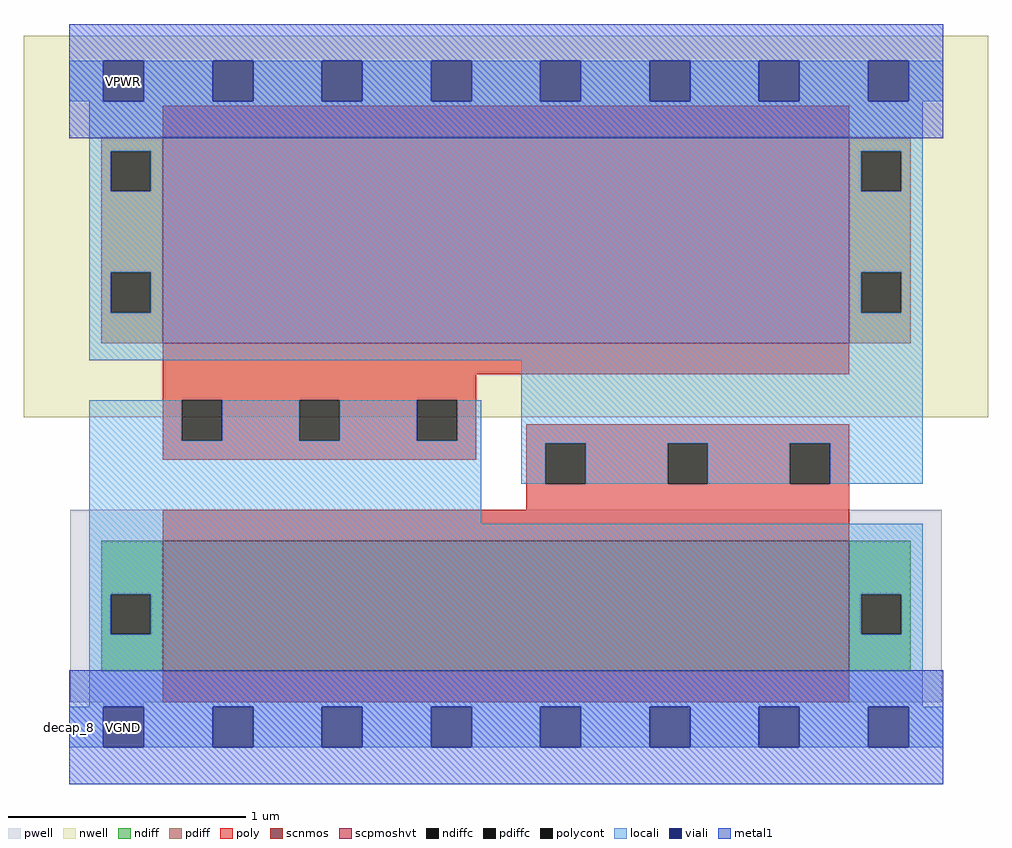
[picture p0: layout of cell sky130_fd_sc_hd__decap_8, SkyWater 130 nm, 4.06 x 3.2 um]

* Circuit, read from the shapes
.subckt sky130_fd_sc_hd__decap_8 VPWR VGND VPB VNB
XM1 VGND VPWR VGND VNB sky130_fd_pr__nfet_01v8 w=0.55 l=2.89
XM2 VPWR VGND VPWR VPB sky130_fd_pr__pfet_01v8_hvt w=0.87 l=2.89
.ends

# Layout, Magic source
magic
tech sky130B
magscale 1 2
<< nwell >>
rect -38 221 774 542
<< pwell >>
rect 1 -19 735 143
rect 29 -57 63 -19
<< scnmos >>
rect 79 7 657 117
<< scpmoshvt >>
rect 79 283 657 457
<< ndiff >>
rect 27 72 79 117
rect 27 38 35 72
rect 69 38 79 72
rect 27 7 79 38
rect 657 72 709 117
rect 657 38 667 72
rect 701 38 709 72
rect 657 7 709 38
<< pdiff >>
rect 27 445 79 457
rect 27 411 35 445
rect 69 411 79 445
rect 27 343 79 411
rect 27 309 35 343
rect 69 309 79 343
rect 27 283 79 309
rect 657 445 709 457
rect 657 411 667 445
rect 701 411 709 445
rect 657 343 709 411
rect 657 309 667 343
rect 701 309 709 343
rect 657 283 709 309
<< ndiffc >>
rect 35 38 69 72
rect 667 38 701 72
<< pdiffc >>
rect 35 411 69 445
rect 35 309 69 343
rect 667 411 701 445
rect 667 309 701 343
<< poly >>
rect 79 457 657 483
rect 79 257 657 283
rect 79 235 343 257
rect 79 201 95 235
rect 129 201 194 235
rect 228 201 293 235
rect 327 201 343 235
rect 79 185 343 201
rect 385 199 657 215
rect 385 165 401 199
rect 435 165 504 199
rect 538 165 607 199
rect 641 165 657 199
rect 385 143 657 165
rect 79 117 657 143
rect 79 -19 657 7
<< polycont >>
rect 95 201 129 235
rect 194 201 228 235
rect 293 201 327 235
rect 401 165 435 199
rect 504 165 538 199
rect 607 165 641 199
<< locali >>
rect 0 487 29 521
rect 63 487 121 521
rect 155 487 213 521
rect 247 487 305 521
rect 339 487 397 521
rect 431 487 489 521
rect 523 487 581 521
rect 615 487 673 521
rect 707 487 736 521
rect 17 445 719 487
rect 17 411 35 445
rect 69 411 667 445
rect 701 411 719 445
rect 17 343 719 411
rect 17 309 35 343
rect 69 309 667 343
rect 701 309 719 343
rect 17 269 719 309
rect 17 201 95 235
rect 129 201 194 235
rect 228 201 293 235
rect 327 201 347 235
rect 17 131 347 201
rect 381 199 719 269
rect 381 165 401 199
rect 435 165 504 199
rect 538 165 607 199
rect 641 165 719 199
rect 17 72 719 131
rect 17 38 35 72
rect 69 38 667 72
rect 701 38 719 72
rect 17 -23 719 38
rect 0 -57 29 -23
rect 63 -57 121 -23
rect 155 -57 213 -23
rect 247 -57 305 -23
rect 339 -57 397 -23
rect 431 -57 489 -23
rect 523 -57 581 -23
rect 615 -57 673 -23
rect 707 -57 736 -23
<< viali >>
rect 29 487 63 521
rect 121 487 155 521
rect 213 487 247 521
rect 305 487 339 521
rect 397 487 431 521
rect 489 487 523 521
rect 581 487 615 521
rect 673 487 707 521
rect 29 -57 63 -23
rect 121 -57 155 -23
rect 213 -57 247 -23
rect 305 -57 339 -23
rect 397 -57 431 -23
rect 489 -57 523 -23
rect 581 -57 615 -23
rect 673 -57 707 -23
<< metal1 >>
rect 0 521 736 552
rect 0 487 29 521
rect 63 487 121 521
rect 155 487 213 521
rect 247 487 305 521
rect 339 487 397 521
rect 431 487 489 521
rect 523 487 581 521
rect 615 487 673 521
rect 707 487 736 521
rect 0 456 736 487
rect 0 -23 736 8
rect 0 -57 29 -23
rect 63 -57 121 -23
rect 155 -57 213 -23
rect 247 -57 305 -23
rect 339 -57 397 -23
rect 431 -57 489 -23
rect 523 -57 581 -23
rect 615 -57 673 -23
rect 707 -57 736 -23
rect 0 -88 736 -57
<< labels >>
rlabel comment s 0 -40 0 -40 4 decap_8
flabel metal1 s 29 487 63 521 0 FreeSans 200 0 0 0 VPWR
port 2 nsew
flabel metal1 s 29 -57 63 -23 0 FreeSans 200 0 0 0 VGND
port 3 nsew
flabel nwell s 29 487 63 521 0 FreeSans 200 0 0 0 VPB
port 5 nsew
flabel pwell s 29 -57 63 -23 0 FreeSans 200 0 0 0 VNB
port 6 nsew
<< properties >>
string FIXED_BBOX 0 -40 736 504
string path 0.000 -1.000 18.400 -1.000 
<< end >>
